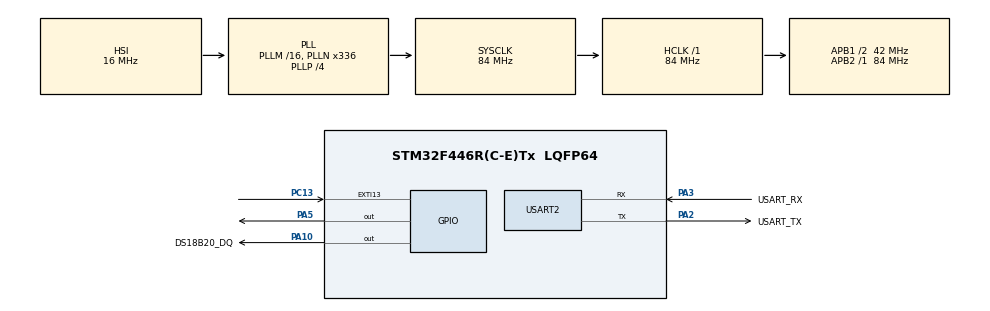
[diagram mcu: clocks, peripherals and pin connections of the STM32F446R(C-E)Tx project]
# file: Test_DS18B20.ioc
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Mcu.Family=STM32F4
Mcu.Name=STM32F446R(C-E)Tx
Mcu.Package=LQFP64
NUCLEO-F446RE.BUTTON=1
NUCLEO-F446RE.LD1=true
NVIC.EXTI15_10_IRQn=true\:0\:0\:false\:false\:true\:false\:true\:true
NVIC.PriorityGroup=NVIC_PRIORITYGROUP_0
PA10.GPIO_Label=DS18B20_DQ
PA10.GPIO_ModeDefaultOutputPP=GPIO_MODE_OUTPUT_OD
PA10.GPIO_PuPd=GPIO_NOPULL
PA10.GPIO_Speed=GPIO_SPEED_FREQ_HIGH
PA10.PinState=GPIO_PIN_SET
PA10.Signal=GPIO_Output
PA13.GPIO_Label=TMS
PA13.Signal=SYS_JTMS-SWDIO
PA14.GPIO_Label=TCK
PA14.Signal=SYS_JTCK-SWCLK
PA2.GPIO_Label=USART_TX
PA2.Mode=Asynchronous
PA2.Signal=USART2_TX
PA3.GPIO_Label=USART_RX
PA3.Mode=Asynchronous
PA3.Signal=USART2_RX
PA5.Signal=GPIO_Output
PB3.GPIO_Label=SWO
PB3.Signal=SYS_JTDO-SWO
PC13.Signal=GPXTI13
PC14-OSC32_IN.Signal=RCC_OSC32_IN
PC15-OSC32_OUT.Signal=RCC_OSC32_OUT
PH0-OSC_IN.Signal=RCC_OSC_IN
PH1-OSC_OUT.Signal=RCC_OSC_OUT
ProjectManager.HeapSize=0x200
ProjectManager.StackSize=0x400
ProjectManager.TargetToolchain=STM32CubeIDE
RCC.AHBFreq_Value=84000000
RCC.APB1CLKDivider=RCC_HCLK_DIV2
RCC.APB1Freq_Value=42000000
RCC.APB1TimFreq_Value=84000000
RCC.APB2Freq_Value=84000000
RCC.APB2TimFreq_Value=84000000
RCC.CortexFreq_Value=84000000
RCC.FLatency-AdvancedSettings=FLASH_LATENCY_2
RCC.HCLKFreq_Value=84000000
RCC.HSE_VALUE=8000000
RCC.HSI_VALUE=16000000
RCC.LSE_VALUE=32768
RCC.PLLN=336
RCC.PLLP=RCC_PLLP_DIV4
RCC.SYSCLKFreq_VALUE=84000000
RCC.SYSCLKSource=RCC_SYSCLKSOURCE_PLLCLK
RCC.USBFreq_Value=168000000
RCC.VCOOutputFreq_Value=336000000
USART2.VirtualMode=VM_ASYNC
VP_NUCLEO-F446RE_VS_BSP_COMMON.Mode=COMMON
board=NUCLEO-F446RE

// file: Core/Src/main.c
/* USER CODE BEGIN Header */
/**
  ******************************************************************************
  * @file           : main.c
  * @brief          : Main program body
  ******************************************************************************
  * @attention
  *
  * Copyright (c) 2026 STMicroelectronics.
  * All rights reserved.
  *
  * This software is licensed under terms that can be found in the LICENSE file
  * in the root directory of this software component.
  * If no LICENSE file comes with this software, it is provided AS-IS.
  *
  ******************************************************************************
  */
/* USER CODE END Header */
#include "main.h"

/* USER CODE BEGIN Includes */
#include <stdio.h>
#include "timer.h"
#include "onewire.h"
#include "ds18b20.h"

/* USER CODE END Includes */

UART_HandleTypeDef huart2;

/* USER CODE BEGIN PV */
/* Attention : numéro de broche (10), pas le masque GPIO_PIN_10 */
ONEWIRE_PINOUT g_ds18b20 = { GPIOA, 10 };
/* USER CODE END PV */

void SystemClock_Config(void);
static void MX_GPIO_Init(void);
static void MX_USART2_UART_Init(void);

/* USER CODE BEGIN 0 */
/* Redirection de printf vers l'USART2 (Virtual COM Port du ST-Link) */
int __io_putchar(int ch)
{
  HAL_UART_Transmit(&huart2, (uint8_t *)&ch, 1, HAL_MAX_DELAY);
  return ch;
}

/* USER CODE END 0 */

int main(void)
{

  /* MCU Configuration--------------------------------------------------------*/

  /* Reset of all peripherals, Initializes the Flash interface and the Systick. */
  HAL_Init();

  /* Configure the system clock */
  SystemClock_Config();

  /* Initialize all configured peripherals */
  MX_GPIO_Init();
  MX_USART2_UART_Init();
  /* USER CODE BEGIN 2 */
  TIMER_Init();                       /* TIM2 à 1 MHz pour delay_us() */
  setvbuf(stdout, NULL, _IONBF, 0);   /* printf sans tampon */
  printf("\r\n=== DS18B20 - Nucleo-F446RE ===\r\n");

  /* USER CODE END 2 */

  /* Initialize leds */
  BSP_LED_Init(LED2);

  /* Initialize USER push-button, will be used to trigger an interrupt each time it's pressed.*/
  BSP_PB_Init(BUTTON_USER, BUTTON_MODE_EXTI);

  /* Infinite loop */
  while (1)
  {

	/* USER CODE BEGIN 3 */
	float temp = DS18B20_GetTemperature(&g_ds18b20);   /* bloque ~750 ms */

	if (temp == DS18B20_ERROR_TEMP)
	{
	  printf("Erreur : sonde non detectee\r\n");
	  for (int i = 0; i < 10; i++)                    /* clignotement rapide = erreur */
	  {
		BSP_LED_Toggle(LED2);
		HAL_Delay(50);
	  }
	}
	else
	{
	  printf("Temperature : %.2f C\r\n", temp);
	  BSP_LED_Toggle(LED2);                           /* bascule à chaque mesure */
	  HAL_Delay(250);
	}
  }
  /* USER CODE END 3 */
}

void SystemClock_Config(void)
{
  RCC_OscInitTypeDef RCC_OscInitStruct = {0};
  RCC_ClkInitTypeDef RCC_ClkInitStruct = {0};

  /** Configure the main internal regulator output voltage
  */
  __HAL_RCC_PWR_CLK_ENABLE();
  __HAL_PWR_VOLTAGESCALING_CONFIG(PWR_REGULATOR_VOLTAGE_SCALE3);

  /** Initializes the RCC Oscillators according to the specified parameters
  * in the RCC_OscInitTypeDef structure.
  */
  RCC_OscInitStruct.OscillatorType = RCC_OSCILLATORTYPE_HSI;
  RCC_OscInitStruct.HSIState = RCC_HSI_ON;
  RCC_OscInitStruct.HSICalibrationValue = RCC_HSICALIBRATION_DEFAULT;
  RCC_OscInitStruct.PLL.PLLState = RCC_PLL_ON;
  RCC_OscInitStruct.PLL.PLLSource = RCC_PLLSOURCE_HSI;
  RCC_OscInitStruct.PLL.PLLM = 16;
  RCC_OscInitStruct.PLL.PLLN = 336;
  RCC_OscInitStruct.PLL.PLLP = RCC_PLLP_DIV4;
  RCC_OscInitStruct.PLL.PLLQ = 2;
  RCC_OscInitStruct.PLL.PLLR = 2;
  if (HAL_RCC_OscConfig(&RCC_OscInitStruct) != HAL_OK)
  {
    Error_Handler();
  }

  /** Initializes the CPU, AHB and APB buses clocks
  */
  RCC_ClkInitStruct.ClockType = RCC_CLOCKTYPE_HCLK|RCC_CLOCKTYPE_SYSCLK
                              |RCC_CLOCKTYPE_PCLK1|RCC_CLOCKTYPE_PCLK2;
  RCC_ClkInitStruct.SYSCLKSource = RCC_SYSCLKSOURCE_PLLCLK;
  RCC_ClkInitStruct.AHBCLKDivider = RCC_SYSCLK_DIV1;
  RCC_ClkInitStruct.APB1CLKDivider = RCC_HCLK_DIV2;
  RCC_ClkInitStruct.APB2CLKDivider = RCC_HCLK_DIV1;

  if (HAL_RCC_ClockConfig(&RCC_ClkInitStruct, FLASH_LATENCY_2) != HAL_OK)
  {
    Error_Handler();
  }
}

static void MX_USART2_UART_Init(void)
{

  huart2.Instance = USART2;
  huart2.Init.BaudRate = 115200;
  huart2.Init.WordLength = UART_WORDLENGTH_8B;
  huart2.Init.StopBits = UART_STOPBITS_1;
  huart2.Init.Parity = UART_PARITY_NONE;
  huart2.Init.Mode = UART_MODE_TX_RX;
  huart2.Init.HwFlowCtl = UART_HWCONTROL_NONE;
  huart2.Init.OverSampling = UART_OVERSAMPLING_16;
  if (HAL_UART_Init(&huart2) != HAL_OK)
  {
    Error_Handler();
  }

}

static void MX_GPIO_Init(void)
{
  GPIO_InitTypeDef GPIO_InitStruct = {0};

  /* GPIO Ports Clock Enable */
  __HAL_RCC_GPIOC_CLK_ENABLE();
  __HAL_RCC_GPIOH_CLK_ENABLE();
  __HAL_RCC_GPIOA_CLK_ENABLE();
  __HAL_RCC_GPIOB_CLK_ENABLE();

  /*Configure GPIO pin Output Level */
  HAL_GPIO_WritePin(DS18B20_DQ_GPIO_Port, DS18B20_DQ_Pin, GPIO_PIN_SET);

  /*Configure GPIO pin : DS18B20_DQ_Pin */
  GPIO_InitStruct.Pin = DS18B20_DQ_Pin;
  GPIO_InitStruct.Mode = GPIO_MODE_OUTPUT_OD;
  GPIO_InitStruct.Pull = GPIO_NOPULL;
  GPIO_InitStruct.Speed = GPIO_SPEED_FREQ_HIGH;
  HAL_GPIO_Init(DS18B20_DQ_GPIO_Port, &GPIO_InitStruct);

}

void Error_Handler(void)
{
  __disable_irq();
  while (1)
  {
  }
}
